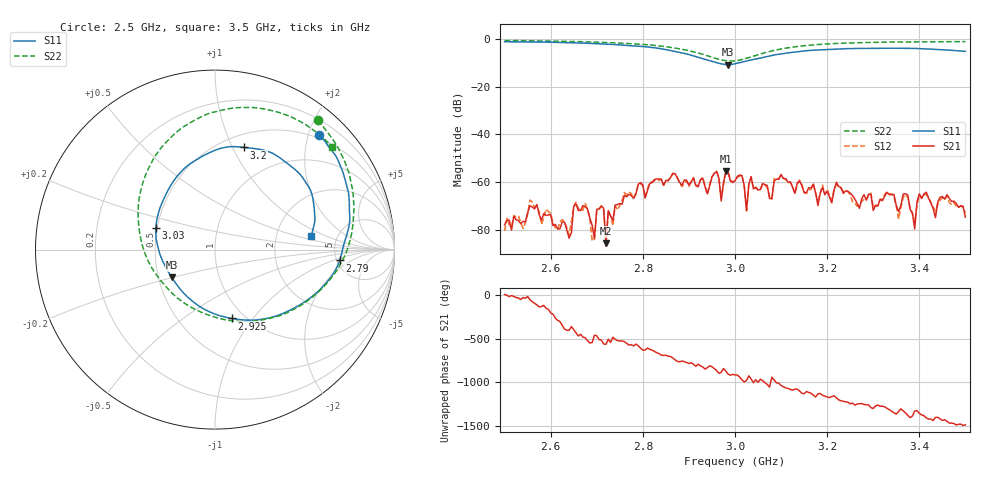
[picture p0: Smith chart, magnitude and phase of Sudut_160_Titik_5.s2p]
# Hz S RI R 50
! CMT, C1220, 16058040, 17.2.0/1
! Date: 15/08/2018 10:25:05
! Data: Format (Calibration Info)
! Freq  S11: Re/Im (F2)  S21: Re/Im (F2)  S12: Re/Im (F2)  S22: Re/Im (F2)
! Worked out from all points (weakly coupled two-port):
!   201 points, 2.5 GHz to 3.5 GHz, reference 50 ohm
!   highest |S21| = -55.55 dB at 2.98 GHz (marker M1); lowest = -85.6 dB at 2.72 GHz (marker M2)
!   lowest |S11| = -10.9 dB at 2.985 GHz (marker M3), VSWR 1.80, Z = 29.3 - j9.84 ohm
!   |S11| at or under -10 dB: 2.959 GHz to 3.011 GHz (51.64 MHz wide, 1.73 % of centre)
!   |S22| runs from -9.3 to -0.7 dB; largest |S21 - S12| = 0.00018
!   S11 on the Smith chart (normalised r, x): 2.5 GHz: 0.44, +2.19; 2.79 GHz: 5.30, -1.24; 2.925 GHz: 0.87, -0.79; 3.03 GHz: 0.49, +0.14; 3.2 GHz: 0.63, +1.11; 3.5 GHz: 3.20, +0.70
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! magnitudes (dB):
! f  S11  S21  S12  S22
! 2.5 GHz  -1.3  -77.8  -80.5  -0.7
! 2.555 GHz  -1.4  -69.9  -67.5  -0.9
! 2.615 GHz  -1.5  -79.5  -80.0  -1.0
! 2.67 GHz  -1.8  -69.8  -71.6  -1.3
! 2.72 GHz  -2.2  -85.6  -86.8  -1.6
! 2.79 GHz  -3.1  -60.9  -61.1  -2.2
! 2.835 GHz  -4.0  -58.7  -59.3  -3.0
! 2.925 GHz  -8.1  -59.1  -59.0  -6.3
! 2.96 GHz  -10.0  -55.6  -55.4  -8.3
! 2.97 GHz  -10.5  -67.9  -66.7  -8.8
! 2.98 GHz  -10.8  -55.6  -55.9  -9.2
! 2.985 GHz  -10.9  -55.8  -55.7  -9.3
! 3 GHz  -10.5  -59.5  -59.4  -9.3
! 3.025 GHz  -9.3  -71.9  -72.0  -8.2
! 3.03 GHz  -9.1  -61.0  -61.0  -7.9
! 3.17 GHz  -4.8  -60.8  -60.7  -2.6
! 3.2 GHz  -4.6  -63.8  -63.1  -2.2
! 3.335 GHz  -4.0  -65.3  -65.1  -1.4
! 3.375 GHz  -4.0  -65.4  -66.4  -1.3
! 3.39 GHz  -4.1  -79.6  -76.9  -1.3
! 3.415 GHz  -4.3  -64.2  -65.1  -1.3
! 3.5 GHz  -5.3  -74.7  -72.8  -1.2
